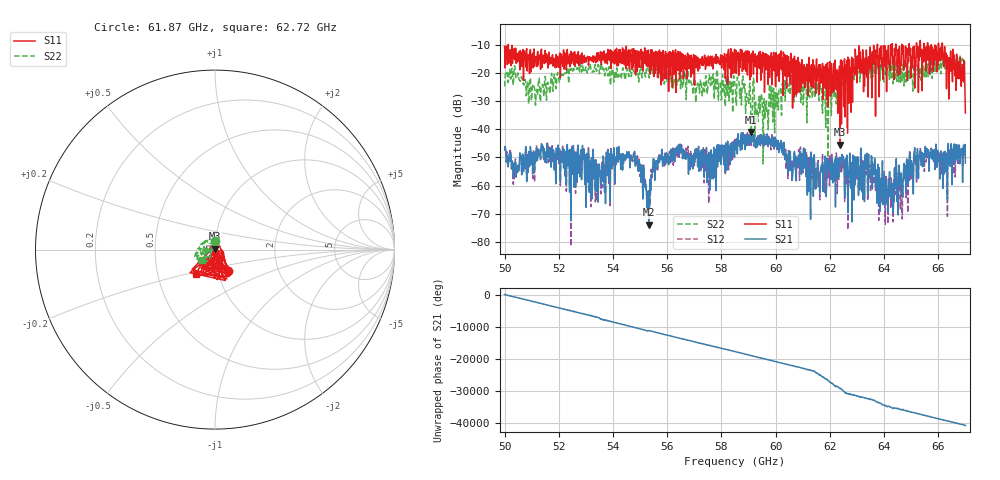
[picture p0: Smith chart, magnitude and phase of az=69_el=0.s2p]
!Created with skrf (http://scikit-rf.org).
# GHz S RI R 50.0
!freq ReS11 ImS11 ReS21 ImS21 ReS12 ImS12 ReS22 ImS22
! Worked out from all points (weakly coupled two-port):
!   1001 points, 50 GHz to 67 GHz, reference 50 ohm
!   highest |S21| = -40.92 dB at 59.08 GHz (marker M1); lowest = -73.8 dB at 55.32 GHz (marker M2)
!   lowest |S11| = -45.4 dB at 62.38 GHz (marker M3), VSWR 1.01, Z = 50.1 + j0.527 ohm
!   |S11| at or under -10 dB: 50.14 GHz to 63.75 GHz (13.62 GHz wide, 23.9 % of centre); 63.75 GHz to 64.3 GHz (541.9 MHz wide, 0.846 % of centre); 66.15 GHz to end of sweep (the widest 3 of 13)
!   |S22| runs from -52.2 to -13.8 dB; largest |S21 - S12| = 0.0031
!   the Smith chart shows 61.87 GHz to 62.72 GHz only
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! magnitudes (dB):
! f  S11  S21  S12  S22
! 50 GHz  -10.6  -47.2  -47.7  -24.8
! 50.39 GHz  -13.8  -51.6  -50.7  -19.4
! 51.07 GHz  -12.7  -48.0  -47.2  -24.4
! 52.84 GHz  -15.0  -57.9  -55.3  -19.8
! 53.64 GHz  -15.5  -49.6  -49.5  -18.3
! 54.73 GHz  -13.3  -49.8  -51.5  -18.7
! 55.32 GHz  -17.2  -73.8  -67.6  -21.1
! 55.68 GHz  -14.2  -49.7  -49.4  -21.8
! 56.51 GHz  -19.6  -47.8  -48.4  -23.0
! 57.5 GHz  -16.5  -48.9  -50.3  -24.8
! 58.5 GHz  -20.0  -44.4  -43.6  -24.5
! 59.08 GHz  -14.0  -40.9  -42.4  -31.8
! 61.34 GHz  -23.3  -53.7  -57.5  -26.2
! 62 GHz  -16.1  -52.3  -49.4  -25.6
! 62.38 GHz  -45.4  -53.6  -55.1  -18.5
! 62.75 GHz  -22.7  -48.8  -50.1  -19.8
! 63.4 GHz  -15.2  -63.0  -65.3  -17.6
! 64.18 GHz  -17.0  -59.4  -58.7  -18.5
! 65.56 GHz  -10.8  -49.9  -51.6  -21.4
! 66.08 GHz  -15.7  -48.3  -47.7  -15.8
! 66.88 GHz  -22.6  -48.2  -47.7  -14.9
! 67 GHz  -34.2  -52.0  -48.1  -15.7
